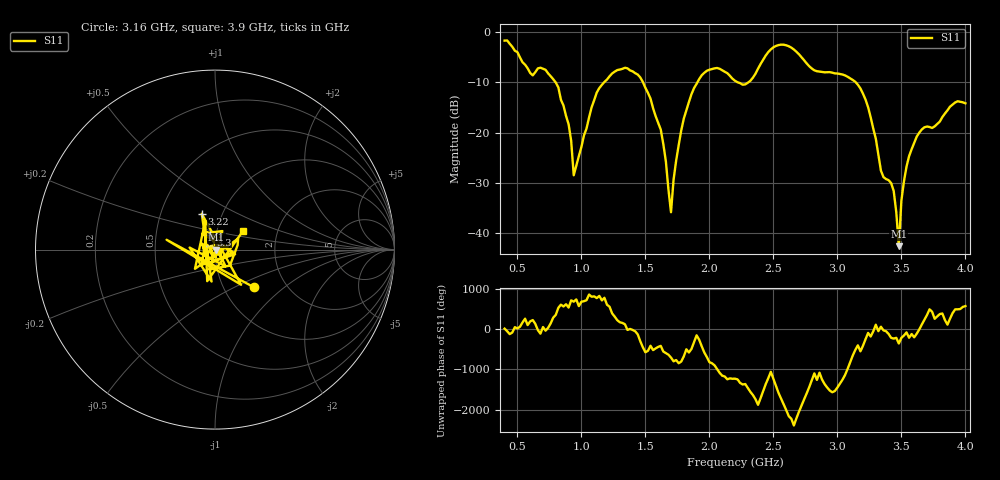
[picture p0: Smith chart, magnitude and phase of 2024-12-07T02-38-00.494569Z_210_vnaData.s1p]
!Created with skrf (http://scikit-rf.org).
# Hz S RI R 50.0
!freq ReS11 ImS11
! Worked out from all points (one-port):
!   181 points, 400 MHz to 4 GHz, reference 50 ohm
!   lowest |S11| = -42.7 dB at 3.48 GHz (marker M1), VSWR 1.01, Z = 50.7 + j0.0168 ohm
!   |S11| at or under -10 dB: 799.4 MHz to 1.176 GHz (377.1 MHz wide, 38.2 % of centre); 1.482 GHz to 1.906 GHz (424.1 MHz wide, 25 % of centre); 3.144 GHz to end of sweep (the widest 3 of 4)
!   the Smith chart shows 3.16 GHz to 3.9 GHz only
!   S11 on the Smith chart (normalised r, x): 3.16 GHz: 1.38, -0.63; 3.22 GHz: 0.80, +0.33; 3.3 GHz: 0.94, +0.16; 3.9 GHz: 1.34, +0.29
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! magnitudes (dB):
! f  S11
! 400 MHz  -1.7
! 620 MHz  -8.6
! 720 MHz  -7.5
! 860 MHz  -14.6
! 920 MHz  -21.7
! 940 MHz  -28.5
! 1.12 GHz  -12.0
! 1.3 GHz  -7.4
! 1.54 GHz  -13.2
! 1.62 GHz  -19.4
! 1.7 GHz  -35.9
! 1.76 GHz  -22.5
! 1.94 GHz  -8.6
! 2.2 GHz  -9.7
! 2.32 GHz  -9.7
! 2.52 GHz  -2.7
! 2.66 GHz  -3.4
! 3.1 GHz  -9.2
! 3.16 GHz  -10.5
! 3.22 GHz  -13.4
! 3.3 GHz  -21.2
! 3.34 GHz  -27.6
! 3.44 GHz  -31.7
! 3.48 GHz  -42.7
! 3.5 GHz  -33.6
! 3.56 GHz  -24.7
! 3.9 GHz  -14.4
! 4 GHz  -14.2
